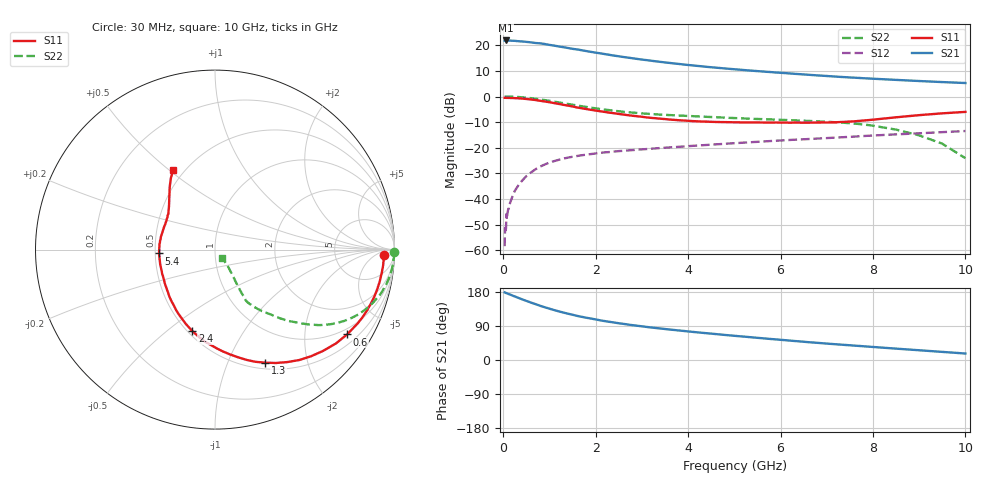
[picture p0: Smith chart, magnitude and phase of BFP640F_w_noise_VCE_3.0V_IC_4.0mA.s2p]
! Infineon Technologies  Discrete & RF Semiconductors
! BFP640F
! VCE =  3.0 V,  IC =  4.0 mA
! Common Emitter S-Parameters:  Apr 2013
# GHz  S  MA  R  50
!  f  S11  S21  S12  S22
! GHz  MAG  ANG  MAG  ANG  MAG  ANG  MAG  ANG
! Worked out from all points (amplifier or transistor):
!   99 points, 30 MHz to 10 GHz, reference 50 ohm
!   highest |S21| = 21.9 dB at 50 MHz (marker M1)
!   |S21| within 3 dB of that: start of sweep to 1.417 GHz
!   unconditionally stable (mu >= 1): 4.592 GHz to end of sweep
!   at 350 MHz: K = 0.06, MSG = 27.8 dB, |S12| = -34.0 dB
!   at 3.5 GHz: K = 0.88, MSG = 16.6 dB, |S12| = -20.0 dB
!   at 10 GHz: K = 1.13, MAG = 7.2 dB, |S12| = -13.5 dB
!   lowest NFmin = 0.49 dB at 450 MHz
!   S11 on the Smith chart (normalised r, x): 30 MHz: 27, -14; 600 MHz: 0.80, -3.23; 1.3 GHz: 0.57, -1.37; 2.4 GHz: 0.53, -0.62; 5.4 GHz: 0.52, -0.02; 10 GHz: 0.44, +0.52
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0.03  0.9431 -1.7  12.3 178.4  0.0012 66.6  0.9979 -0.9
0.04  0.9436 -2.2  12.2 177.9  0.0027 91.9  0.9982 -1.2
0.05  0.9431 -2.9  12.42 177.6  0.0022 94.2  0.9987 -1.5
0.07  0.9418 -3.9  12.34 176.4  0.0051 90.1  0.9983 -2.3
0.25  0.9302 -13.9  12.2 167.7  0.0144 83.9  0.9862 -8.1
0.45  0.9041 -24.7  11.78 158.2  0.025 78.7  0.9593 -14.3
0.6  0.8748 -32.7  11.39 151.5  0.0329 74.4  0.9278 -18.7
0.8  0.8251 -43.2  10.91 143.0  0.0429 68.9  0.8795 -24.1
0.9  0.7991 -48.1  10.58 139.1  0.0472 66.5  0.8517 -26.5
1.1  0.7448 -57.3  9.856 131.8  0.0548 61.9  0.7952 -30.9
1.3  0.6891 -66.1  9.185 125.2  0.0614 58.0  0.7418 -34.4
1.7  0.589 -82.0  7.995 113.9  0.0714 52.4  0.6455 -39.8
2.1  0.5151 -96.4  6.963 104.6  0.0793 48.3  0.5705 -44.2
2.4  0.4716 -105.5  6.28 98.9  0.0842 46.2  0.5275 -46.6
2.8  0.4211 -117.0  5.573 91.9  0.09 44.2  0.4852 -48.8
3.4  0.3689 -132.6  4.744 83.1  0.0988 42.4  0.443 -51.7
4.1  0.3312 -148.8  4.045 74.2  0.1089 40.8  0.4137 -53.8
5.1  0.3132 -170.3  3.349 62.8  0.1241 38.5  0.3772 -56.3
5.4  0.3122 -176.1  3.183 59.6  0.129 38.0  0.3671 -56.8
6.7  0.3093 159.2  2.62 46.2  0.1495 34.5  0.3314 -58.8
8.5  0.393 130.3  2.111 30.0  0.1825 29.1  0.2259 -57.6
10  0.5013 117.7  1.833 17.1  0.212 23.2  0.0626 -49.2
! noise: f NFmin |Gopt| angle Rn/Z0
0.45  0.49  0.47  8  0.17
0.9  0.54  0.47  21  0.17
1.5  0.58  0.47  31  0.17
1.9  0.61  0.44  44  0.17
2.4  0.67  0.4  59  0.17
3.5  0.76  0.3  79  0.18
5.5  1.02  0.24  148  0.19
10  1.8  0.46  -106  0.37
